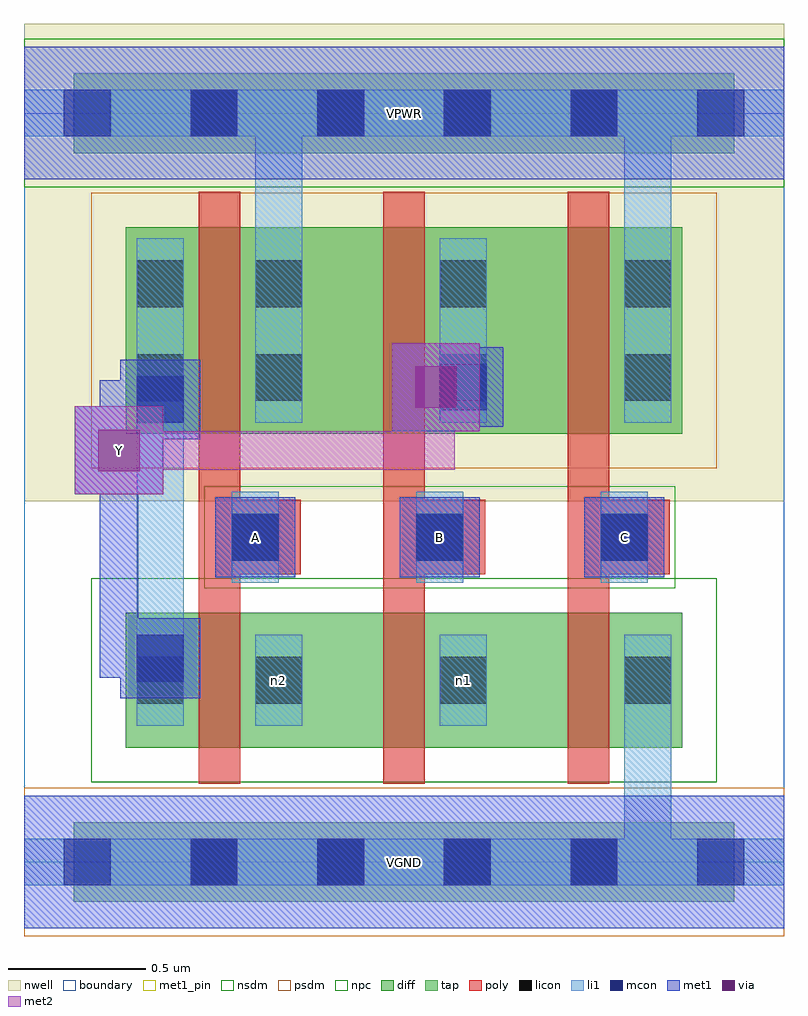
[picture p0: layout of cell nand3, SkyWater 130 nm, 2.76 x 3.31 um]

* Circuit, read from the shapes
.subckt nand3 A B C VGND VPWR Y n1 n2
XM1 n2 A Y VGND sky130_fd_pr__nfet_01v8 w=0.49 l=0.15
XM2 n1 B n2 VGND sky130_fd_pr__nfet_01v8 w=0.49 l=0.15
XM3 VGND C n1 VGND sky130_fd_pr__nfet_01v8 w=0.49 l=0.15
XM4 VPWR A Y VPWR sky130_fd_pr__pfet_01v8 w=0.75 l=0.15
XM5 Y B VPWR VPWR sky130_fd_pr__pfet_01v8 w=0.75 l=0.15
XM6 VPWR C Y VPWR sky130_fd_pr__pfet_01v8 w=0.75 l=0.15
.ends

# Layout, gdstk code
import gdstk
lib = gdstk.Library(unit=1e-6, precision=1e-09)
def R(c, l, rs):  # rectangles x0, y0, x1, y1
    for r in rs: c.add(gdstk.rectangle(r[:2], r[2:], *l))
def A(c, l, x, y, w, h, nx, ny, dx, dy):  # array of equal rectangles
    R(c, l, [(x+i*dx, y+j*dy, x+i*dx+w, y+j*dy+h) for i in range(nx) for j in range(ny)])
nwell = (64, 20)
diff = (65, 20)
tap = (65, 44)
poly = (66, 20)
licon = (66, 44)
li1 = (67, 20)
mcon = (67, 44)
met1_pin = (68, 16)
met1 = (68, 20)
via = (68, 44)
met2 = (69, 20)
nsdm = (93, 44)
psdm = (94, 20)
npc = (95, 20)
boundary = (235, 4)

nand3 = lib.new_cell('nand3')
R(nand3, nwell, [(0,1.31,2.76,3.045)])
R(nand3, diff, [(0.37,0.415,2.39,0.905), (0.37,1.555,2.39,2.305)])
R(nand3, tap, [(0.18,-0.145,2.58,0.145), (0.18,2.575,2.58,2.865)])
A(nand3, poly, 0.635, 0.285, 0.15, 2.15, 3, 1, 0.67, 0)
A(nand3, poly, 0.675, 1.045, 0.33, 0.27, 3, 1, 0.67, 0)
A(nand3, licon, 0.605, -0.085, 0.17, 0.17, 4, 2, 0.46, 2.72)
A(nand3, licon, 0.84, 0.575, 0.17, 0.17, 3, 2, 0.67, 1.1)
A(nand3, licon, 0.755, 1.095, 0.17, 0.17, 3, 1, 0.67, 0)
A(nand3, licon, 0.84, 2.015, 0.17, 0.17, 3, 1, 0.67, 0)
R(nand3, licon, [(0.41,0.575,0.58,0.745), (0.41,1.675,0.58,1.845), (0.41,2.015,0.58,2.185)])
A(nand3, li1, 0.84, 0.495, 0.17, 0.33, 3, 1, 0.67, 0)
A(nand3, li1, 0.755, 1.015, 0.17, 0.33, 3, 1, 0.67, 0)
A(nand3, li1, 0.84, 1.595, 0.17, 0.67, 3, 1, 0.67, 0)
R(nand3, li1, [(0,-0.085,2.76,0.085), (2.18,-0.085,2.35,0.825), (0.41,0.495,0.58,0.825), (0.41,0.495,0.58,2.265), (0.41,1.595,0.58,2.265), (0.84,1.595,1.01,2.805), (2.18,1.595,2.35,2.805), (0,2.635,2.76,2.805)])
A(nand3, mcon, 0.145, -0.085, 0.17, 0.17, 6, 2, 0.46, 2.72)
A(nand3, mcon, 0.755, 1.095, 0.17, 0.17, 3, 1, 0.67, 0)
R(nand3, mcon, [(0.41,0.655,0.58,0.825), (0.41,1.595,0.58,1.765), (1.51,1.64,1.68,1.81)])
A(nand3, met1_pin, 0.695, 1.035, 0.29, 0.29, 3, 1, 0.67, 0)
R(nand3, met1_pin, [(0,-0.24,2.76,0.24), (0.185,1.335,0.505,1.655), (0,2.48,2.76,2.96)])
A(nand3, met1, 0.695, 1.035, 0.29, 0.29, 3, 1, 0.67, 0)
R(nand3, met1, [(0,-0.24,2.76,0.24), (0.35,0.595,0.64,0.885), (0.275,0.67,0.565,0.81), (0.275,0.67,0.415,0.99), (0.275,0.85,0.415,1.565), (0.185,1.335,0.505,1.655), (0.275,1.425,0.415,1.75), (0.35,1.535,0.64,1.825), (1.335,1.565,1.655,1.885), (1.45,1.58,1.74,1.87), (0.275,1.61,0.565,1.75), (1.425,1.655,1.665,1.795), (0,2.48,2.76,2.96)])
R(nand3, via, [(0.27,1.42,0.42,1.57), (1.42,1.65,1.57,1.8)])
R(nand3, met2, [(0.185,1.335,0.505,1.655), (0.275,1.425,1.565,1.565), (1.425,1.425,1.565,1.795), (1.335,1.565,1.655,1.885)])
R(nand3, nsdm, [(0.245,0.29,2.515,1.03), (0,2.45,2.76,2.99)])
R(nand3, psdm, [(0,-0.27,2.76,0.27), (0.245,1.43,2.515,2.43)])
R(nand3, npc, [(0.655,0.995,2.365,1.365)])
R(nand3, boundary, [(0,0,2.76,2.72)])
nand3.add(gdstk.Label('n2', (0.925,0.66), layer=67, texttype=5))
nand3.add(gdstk.Label('n1', (1.595,0.66), layer=67, texttype=5))
nand3.add(gdstk.Label('A', (0.84,1.18), layer=68, texttype=5))
nand3.add(gdstk.Label('B', (1.51,1.18), layer=68, texttype=5))
nand3.add(gdstk.Label('C', (2.18,1.18), layer=68, texttype=5))
nand3.add(gdstk.Label('Y', (0.345,1.495), layer=68, texttype=5))
nand3.add(gdstk.Label('VPWR', (1.38,2.72), layer=68, texttype=5))
nand3.add(gdstk.Label('VGND', (1.38,0), layer=68, texttype=5))
nand3.add(gdstk.Label('A', (0.84,1.18), layer=68, texttype=16))
nand3.add(gdstk.Label('B', (1.51,1.18), layer=68, texttype=16))
nand3.add(gdstk.Label('C', (2.18,1.18), layer=68, texttype=16))
nand3.add(gdstk.Label('Y', (0.345,1.495), layer=68, texttype=16))
nand3.add(gdstk.Label('VPWR', (1.38,2.72), layer=68, texttype=16))
nand3.add(gdstk.Label('VGND', (1.38,0), layer=68, texttype=16))

lib.write_gds('nand3.gds')
